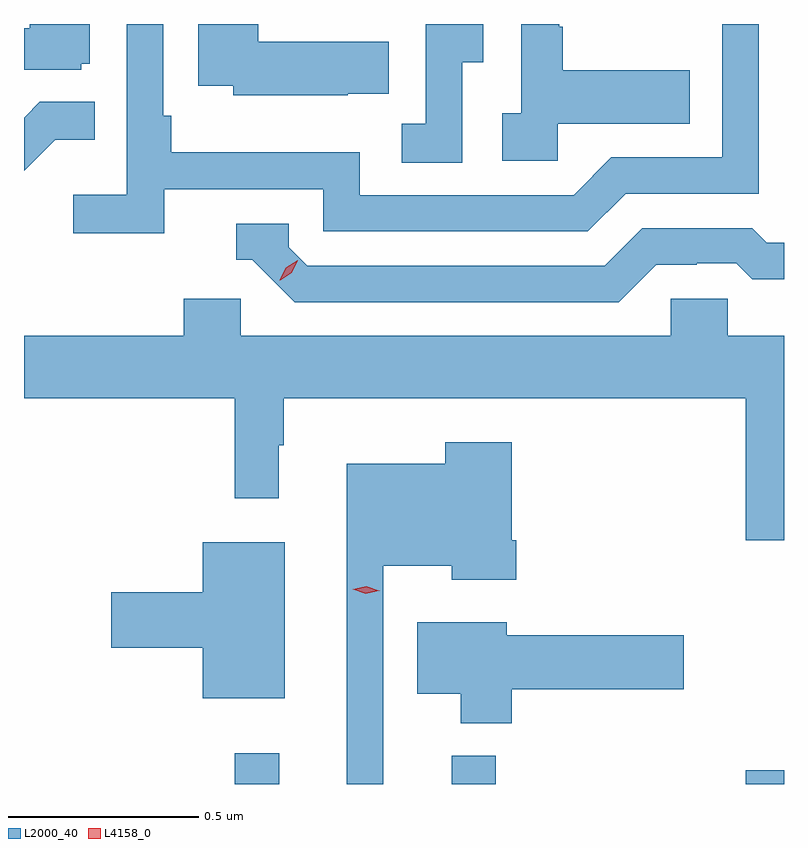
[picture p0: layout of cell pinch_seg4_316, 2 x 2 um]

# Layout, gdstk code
import gdstk
lib = gdstk.Library(unit=1e-6, precision=1e-09)
def R(c, l, rs):  # rectangles x0, y0, x1, y1
    for r in rs: c.add(gdstk.rectangle(r[:2], r[2:], *l))
def P(c, l, *ps):  # polygons
    for p in ps: c.add(gdstk.Polygon(p, *l))
L2000_40 = (2000, 40)
L4158_0 = (4158, 0)

pinch_seg4_316 = lib.new_cell('pinch_seg4_316')
R(pinch_seg4_316, L2000_40, [(942.883,798.469,943.001,798.55), (943.454,798.469,943.571,798.544), (944.228,798.469,944.329,798.505)])
P(pinch_seg4_316, L2000_40, [(943.181,800.285),(943.289,800.285),(943.289,800.422),(942.946,800.422),(942.946,800.469),(942.788,800.469),(942.788,800.306),(942.879,800.306),(942.879,800.282),(943.181,800.282)],
  [(943.482,800.368),(943.537,800.368),(943.537,800.469),(943.386,800.469),(943.386,800.207),(943.323,800.207),(943.323,800.104),(943.482,800.104)],
  [(943.734,800.207),(944.081,800.207),(944.081,800.347),(943.747,800.347),(943.747,800.462),(943.737,800.462),(943.737,800.469),(943.638,800.469),(943.638,800.234),(943.587,800.234),(943.587,800.109),(943.734,800.109)],
  [(942.698,800.034),(943.116,800.034),(943.116,799.923),(943.813,799.923),(943.912,800.022),(944.262,800.022),(944.262,800.469),(944.166,800.469),(944.166,800.118),(943.875,800.118),(943.776,800.019),(943.212,800.019),(943.212,800.131),(942.716,800.131),(942.716,800.227),(942.696,800.227),(942.696,800.469),(942.6,800.469),(942.6,800.02),(942.459,800.02),(942.459,799.918),(942.698,799.918)],
  [(942.48,800.364),(942.502,800.364),(942.502,800.469),(942.344,800.469),(942.344,800.458),(942.329,800.458),(942.329,800.349),(942.48,800.349)],
  [(942.411,800.165),(942.515,800.165),(942.515,800.264),(942.371,800.264),(942.329,800.222),(942.329,800.083)],
  [(943.993,799.836),(944.1,799.836),(944.1,799.839),(944.203,799.839),(944.245,799.797),(944.329,799.797),(944.329,799.893),(944.284,799.893),(944.245,799.932),(943.956,799.932),(943.857,799.833),(943.074,799.833),(943.026,799.881),(943.026,799.944),(942.887,799.944),(942.887,799.848),(942.93,799.848),(943.041,799.737),(943.894,799.737)],
  [(944.329,799.648),(944.181,799.648),(944.181,799.746),(944.031,799.746),(944.031,799.648),(942.9,799.648),(942.9,799.746),(942.749,799.746),(942.749,799.648),(942.329,799.648),(942.329,799.484),(942.883,799.484),(942.883,799.221),(943,799.221),(943,799.361),(943.012,799.361),(943.012,799.484),(944.228,799.484),(944.228,799.11),(944.329,799.11)],
  [(943.275,799.043),(943.454,799.043),(943.454,799.007),(943.625,799.007),(943.625,799.111),(943.612,799.111),(943.612,799.369),(943.437,799.369),(943.437,799.312),(943.178,799.312),(943.178,798.469),(943.275,798.469)],
  [(943.015,799.105),(942.8,799.105),(942.8,798.974),(942.558,798.974),(942.558,798.827),(942.8,798.827),(942.8,798.695),(943.015,798.695)],
  [(943.613,798.718),(944.065,798.718),(944.065,798.86),(943.6,798.86),(943.6,798.895),(943.364,798.895),(943.364,798.707),(943.478,798.707),(943.478,798.629),(943.613,798.629)])
P(pinch_seg4_316, L4158_0, [(943.228,798.97),(943.194,798.982),(943.193,798.982),(943.194,798.982),(943.23,798.989),(943.264,798.977),(943.265,798.977),(943.264,798.977)],
  [(943.002,799.795),(943.002,799.795),(943.018,799.828),(943.049,799.847),(943.049,799.847),(943.049,799.847),(943.033,799.815),(943.003,799.795)])

lib.write_gds('pinch_seg4_316.gds')
